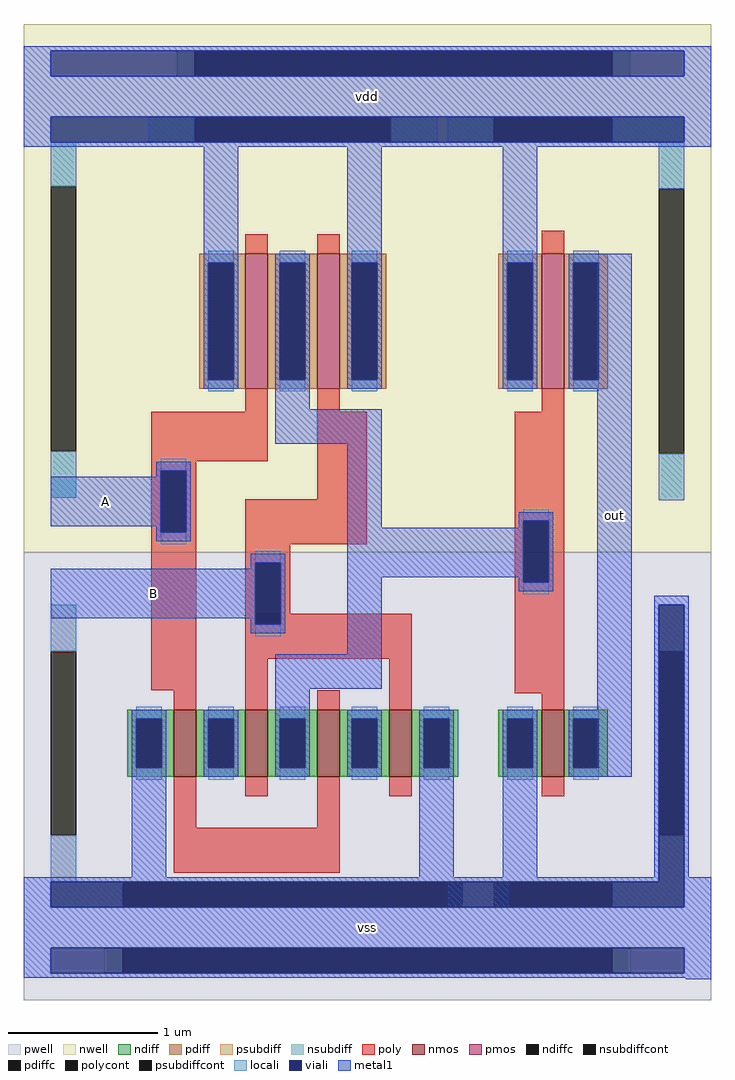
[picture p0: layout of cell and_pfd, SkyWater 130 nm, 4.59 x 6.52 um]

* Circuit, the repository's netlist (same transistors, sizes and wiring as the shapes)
**.subckt and_pfd vdd vss out A B
*.iopin vdd
*.iopin vss
*.opin out
*.ipin A
*.ipin B
XM1 out_nand A net1 vss sky130_fd_pr__nfet_01v8 L=0.15 W=0.45 nf=1 ad='int((nf+1)/2) * W/nf * 0.29' as='int((nf+2)/2) * W/nf * 0.29'
+ pd='2*int((nf+1)/2) * (W/nf + 0.29)' ps='2*int((nf+2)/2) * (W/nf + 0.29)' nrd='0.29 / W' nrs='0.29 / W'
+ sa=0 sb=0 sd=0 mult=1 m=1 
XM2 out_nand A vdd vdd sky130_fd_pr__pfet_01v8 L=0.15 W=0.9 nf=1 ad='int((nf+1)/2) * W/nf * 0.29' as='int((nf+2)/2) * W/nf * 0.29'
+ pd='2*int((nf+1)/2) * (W/nf + 0.29)' ps='2*int((nf+2)/2) * (W/nf + 0.29)' nrd='0.29 / W' nrs='0.29 / W'
+ sa=0 sb=0 sd=0 mult=1 m=1 
XM3 net1 B vss vss sky130_fd_pr__nfet_01v8 L=0.15 W=0.45 nf=1 ad='int((nf+1)/2) * W/nf * 0.29' as='int((nf+2)/2) * W/nf * 0.29'
+ pd='2*int((nf+1)/2) * (W/nf + 0.29)' ps='2*int((nf+2)/2) * (W/nf + 0.29)' nrd='0.29 / W' nrs='0.29 / W'
+ sa=0 sb=0 sd=0 mult=1 m=1 
XM4 out_nand B net2 vss sky130_fd_pr__nfet_01v8 L=0.15 W=0.45 nf=1 ad='int((nf+1)/2) * W/nf * 0.29' as='int((nf+2)/2) * W/nf * 0.29'
+ pd='2*int((nf+1)/2) * (W/nf + 0.29)' ps='2*int((nf+2)/2) * (W/nf + 0.29)' nrd='0.29 / W' nrs='0.29 / W'
+ sa=0 sb=0 sd=0 mult=1 m=1 
XM5 net2 A vss vss sky130_fd_pr__nfet_01v8 L=0.15 W=0.45 nf=1 ad='int((nf+1)/2) * W/nf * 0.29' as='int((nf+2)/2) * W/nf * 0.29'
+ pd='2*int((nf+1)/2) * (W/nf + 0.29)' ps='2*int((nf+2)/2) * (W/nf + 0.29)' nrd='0.29 / W' nrs='0.29 / W'
+ sa=0 sb=0 sd=0 mult=1 m=1 
XM6 out_nand B vdd vdd sky130_fd_pr__pfet_01v8 L=0.15 W=0.9 nf=1 ad='int((nf+1)/2) * W/nf * 0.29' as='int((nf+2)/2) * W/nf * 0.29'
+ pd='2*int((nf+1)/2) * (W/nf + 0.29)' ps='2*int((nf+2)/2) * (W/nf + 0.29)' nrd='0.29 / W' nrs='0.29 / W'
+ sa=0 sb=0 sd=0 mult=1 m=1 
XM7 out out_nand vdd vdd sky130_fd_pr__pfet_01v8 L=0.15 W=0.9 nf=1 ad='int((nf+1)/2) * W/nf * 0.29' as='int((nf+2)/2) * W/nf * 0.29'
+ pd='2*int((nf+1)/2) * (W/nf + 0.29)' ps='2*int((nf+2)/2) * (W/nf + 0.29)' nrd='0.29 / W' nrs='0.29 / W'
+ sa=0 sb=0 sd=0 mult=1 m=1 
XM8 out out_nand vss vss sky130_fd_pr__nfet_01v8 L=0.15 W=0.45 nf=1 ad='int((nf+1)/2) * W/nf * 0.29'
+ as='int((nf+2)/2) * W/nf * 0.29' pd='2*int((nf+1)/2) * (W/nf + 0.29)' ps='2*int((nf+2)/2) * (W/nf + 0.29)'
+ nrd='0.29 / W' nrs='0.29 / W' sa=0 sb=0 sd=0 mult=1 m=1 
**.ends
** flattened .save nodes
.end

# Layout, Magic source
magic
tech sky130A
magscale 1 2
<< nwell >>
rect 0 1216 918 1304
rect 0 598 96 1216
<< pwell >>
rect 0 0 918 88
<< psubdiff >>
rect 108 36 132 70
rect 786 36 810 70
<< nsubdiff >>
rect 204 1234 228 1268
rect 786 1234 810 1268
rect 36 1146 213 1180
rect 552 1146 616 1180
rect 36 1087 70 1146
rect 36 671 70 733
<< psubdiffcont >>
rect 132 36 786 70
<< nsubdiffcont >>
rect 228 1234 786 1268
rect 36 733 70 1087
<< poly >>
rect 170 720 326 786
rect 170 707 230 720
rect 170 625 183 707
rect 217 625 230 707
rect 392 669 458 786
rect 170 414 230 625
rect 296 609 458 669
rect 656 640 722 786
rect 296 584 356 609
rect 296 502 309 584
rect 343 502 356 584
rect 296 456 356 502
rect 656 558 667 640
rect 701 558 722 640
rect 656 410 722 558
<< polycont >>
rect 183 625 217 707
rect 309 502 343 584
rect 667 558 701 640
<< locali >>
rect 36 1087 70 1146
rect 36 671 70 733
rect 183 707 217 723
rect 183 609 217 625
rect 667 640 701 656
rect 309 584 343 600
rect 667 542 701 558
rect 309 486 343 502
<< viali >>
rect 36 1234 228 1268
rect 228 1234 786 1268
rect 786 1234 882 1268
rect 36 1146 882 1180
rect 183 625 217 707
rect 309 502 343 584
rect 667 558 701 640
rect 848 158 882 528
rect 36 124 882 158
rect 36 36 132 70
rect 132 36 786 70
rect 786 36 882 70
<< metal1 >>
rect 0 1268 918 1274
rect 0 1234 36 1268
rect 882 1234 918 1268
rect 0 1180 918 1234
rect 0 1146 36 1180
rect 882 1146 918 1180
rect 0 1140 918 1146
rect 240 997 286 1140
rect 432 985 478 1140
rect 640 988 686 1140
rect 336 789 382 829
rect 336 743 478 789
rect 177 707 223 719
rect 177 699 183 707
rect 36 633 183 699
rect 177 625 183 633
rect 217 625 223 707
rect 177 613 223 625
rect 432 631 478 743
rect 661 640 707 652
rect 661 631 667 640
rect 303 584 349 596
rect 303 576 309 584
rect 36 510 309 576
rect 303 502 309 510
rect 343 502 349 584
rect 303 490 349 502
rect 432 565 667 631
rect 432 462 478 565
rect 661 558 667 565
rect 701 558 707 640
rect 661 546 707 558
rect 336 416 478 462
rect 336 388 382 416
rect 144 164 190 307
rect 528 164 574 308
rect 640 164 686 302
rect 766 298 812 997
rect 842 528 888 540
rect 842 164 848 528
rect 0 158 848 164
rect 882 164 888 528
rect 0 124 36 158
rect 882 124 918 164
rect 0 70 918 124
rect 0 36 36 70
rect 882 36 918 70
rect 0 30 918 36
rect 884 28 918 30
use sky130_fd_pr__pfet_01v8_7T83YG  sky130_fd_pr__pfet_01v8_7T83YG_0
transform 1 0 359 0 1 907
box -263 -309 263 309
use sky130_fd_pr__nfet_01v8_ZCYAJJ  sky130_fd_pr__nfet_01v8_ZCYAJJ_0
transform 1 0 359 0 1 343
box -359 -255 359 255
use sky130_fd_pr__nfet_01v8_ZXAV3F  sky130_fd_pr__nfet_01v8_ZXAV3F_0
transform 1 0 707 0 1 343
box -211 -255 211 255
use sky130_fd_pr__pfet_01v8_4F7GBC  sky130_fd_pr__pfet_01v8_4F7GBC_0
transform 1 0 707 0 1 907
box -211 -309 211 309
<< labels >>
rlabel metal1 0 70 918 124 1 vss
rlabel metal1 0 1180 918 1234 1 vdd
rlabel metal1 36 633 183 699 1 A
rlabel metal1 36 510 309 576 1 B
rlabel metal1 766 298 812 997 1 out
<< end >>

# cell sky130_fd_pr__pfet_01v8_7T83YG: kit device sky130_fd_pr__pfet_01v8, w 0.9 l 0.15 m 1 nf 2 diffcov 100 polycov 100 guard 1 glc 1 grc 1 gtc 1 gbc 0 tbcov 100 rlcov 100 topc 0 botc 1 poverlap 0 doverlap 1 lmin 0.15 wmin 0.42 compatible {sky130_fd_pr__pfet_01v8 sky130_fd_pr__pfet_01v8_lvt sky130_fd_pr__pfet_01v8_hvt sky130_fd_pr__pfet_g5v0d10v5} full_metal 1 viasrc 100 viadrn 100 viagate 100 viagb 0 viagr 0 viagl 0 viagt 0

# cell sky130_fd_pr__nfet_01v8_ZCYAJJ: kit device sky130_fd_pr__nfet_01v8, w 0.45 l 0.150 m 1 nf 4 diffcov 100 polycov 100 guard 1 glc 1 grc 1 gtc 0 gbc 1 tbcov 100 rlcov 100 topc 1 botc 1 poverlap 0 doverlap 1 lmin 0.15 wmin 0.42 compatible {sky130_fd_pr__nfet_01v8 sky130_fd_pr__nfet_01v8_lvt sky130_fd_bs_flash__special_sonosfet_star sky130_fd_pr__nfet_g5v0d10v5 sky130_fd_pr__nfet_05v0_nvt sky130_fd_pr__nfet_03v3_nvt} full_metal 1 viasrc 100 viadrn 100 viagate 100 viagb 0 viagr 0 viagl 0 viagt 0

# cell sky130_fd_pr__nfet_01v8_ZXAV3F: kit device sky130_fd_pr__nfet_01v8, w 0.45 l 0.150 m 1 nf 1 diffcov 100 polycov 100 guard 1 glc 1 grc 1 gtc 0 gbc 1 tbcov 100 rlcov 100 topc 1 botc 1 poverlap 0 doverlap 1 lmin 0.15 wmin 0.42 compatible {sky130_fd_pr__nfet_01v8 sky130_fd_pr__nfet_01v8_lvt sky130_fd_bs_flash__special_sonosfet_star sky130_fd_pr__nfet_g5v0d10v5 sky130_fd_pr__nfet_05v0_nvt sky130_fd_pr__nfet_03v3_nvt} full_metal 1 viasrc 100 viadrn 100 viagate 100 viagb 0 viagr 0 viagl 0 viagt 0

# cell sky130_fd_pr__pfet_01v8_4F7GBC: kit device sky130_fd_pr__pfet_01v8, w 0.9 l 0.15 m 1 nf 1 diffcov 100 polycov 100 guard 1 glc 1 grc 1 gtc 1 gbc 0 tbcov 100 rlcov 100 topc 1 botc 1 poverlap 0 doverlap 1 lmin 0.15 wmin 0.42 compatible {sky130_fd_pr__pfet_01v8 sky130_fd_pr__pfet_01v8_lvt sky130_fd_pr__pfet_01v8_hvt sky130_fd_pr__pfet_g5v0d10v5} full_metal 1 viasrc 100 viadrn 100 viagate 100 viagb 0 viagr 0 viagl 0 viagt 0
